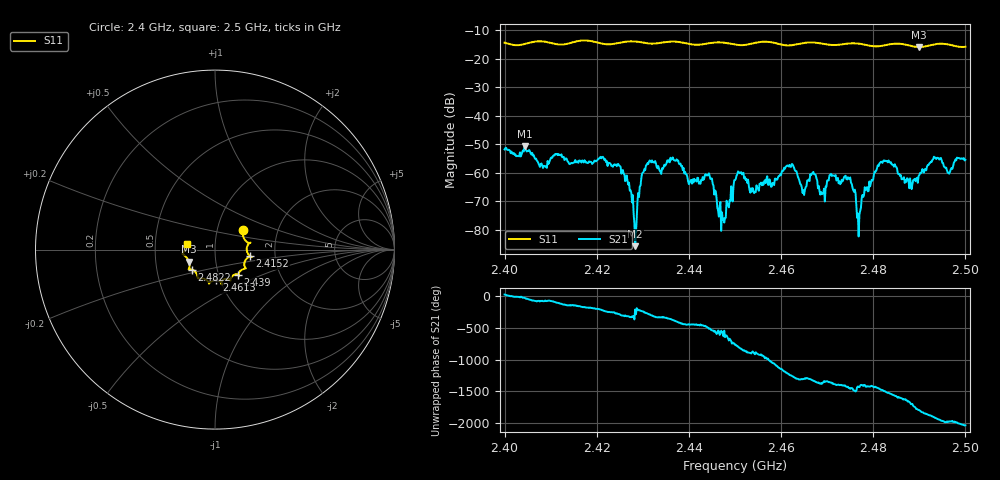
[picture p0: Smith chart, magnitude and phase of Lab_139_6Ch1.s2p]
# Hz S RI R 50
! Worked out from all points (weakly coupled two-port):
!   601 points, 2.4 GHz to 2.5 GHz, reference 50 ohm
!   highest |S21| = -50.76 dB at 2.4043 GHz (marker M1); lowest = -85.8 dB at 2.4283 GHz (marker M2)
!   lowest |S11| = -15.9 dB at 2.4898 GHz (marker M3), VSWR 1.38, Z = 37 - j5.05 ohm
!   |S11| at or under -10 dB: start of sweep to end of sweep
!   S12 and S22 are empty: the file has one direction only
!   S11 on the Smith chart (normalised r, x): 2.4 GHz: 1.33, +0.31; 2.4152 GHz: 1.48, -0.11; 2.439 GHz: 1.24, -0.36; 2.4613 GHz: 0.96, -0.34; 2.4822 GHz: 0.76, -0.17; 2.5 GHz: 0.72, +0.05
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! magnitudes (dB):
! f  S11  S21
! 2.4 GHz  -14.4  -51.8
! 2.4043 GHz  -14.8  -50.8
! 2.4152 GHz  -14.1  -56.4
! 2.4167 GHz  -13.6  -56.5
! 2.4247 GHz  -14.5  -57.0
! 2.4283 GHz  -14.0  -85.8
! 2.4303 GHz  -14.4  -58.8
! 2.4333 GHz  -14.5  -57.7
! 2.439 GHz  -14.5  -60.3
! 2.4445 GHz  -14.5  -61.2
! 2.4475 GHz  -14.4  -76.1
! 2.45 GHz  -15.0  -62.6
! 2.4613 GHz  -15.3  -57.5
! 2.4648 GHz  -14.5  -66.2
! 2.4667 GHz  -14.3  -60.5
! 2.469 GHz  -14.7  -67.4
! 2.4745 GHz  -14.7  -61.6
! 2.4768 GHz  -14.7  -82.4
! 2.4822 GHz  -15.4  -56.0
! 2.4833 GHz  -15.0  -55.8
! 2.4898 GHz  -15.9  -61.3
! 2.5 GHz  -15.8  -55.5
